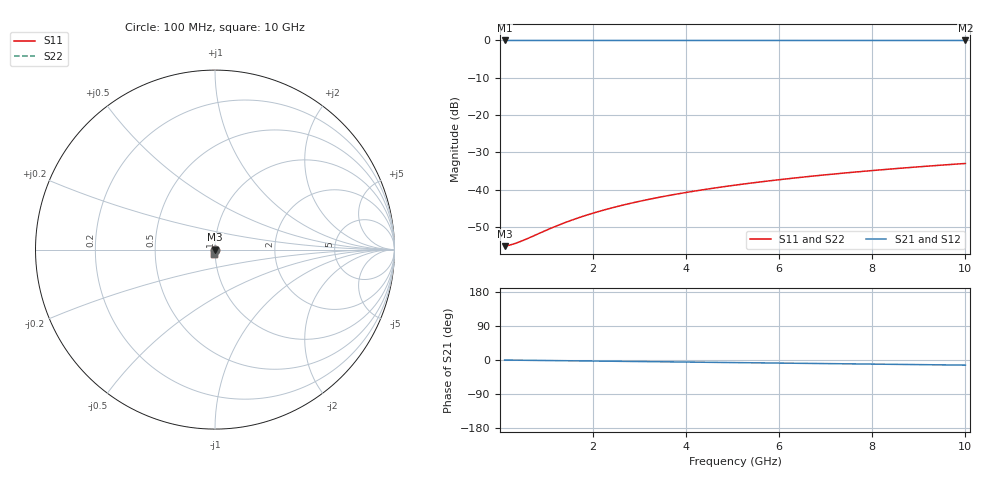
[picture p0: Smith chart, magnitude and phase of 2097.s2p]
# Hz S RI R 50.00
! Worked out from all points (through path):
!   100 points, 100 MHz to 10 GHz, reference 50 ohm
!   highest |S21| = -0.02 dB at 100 MHz (marker M1); lowest = 0.0 dB at 10 GHz (marker M2)
!   group delay of S21, straight-line fit = 3.76 ps
!   lowest |S11| = -55.2 dB at 100 MHz (marker M3), VSWR 1.00, Z = 50.2 - j0.0229 ohm
!   |S11| at or under -10 dB: start of sweep to end of sweep
!   |S22| runs from -55.2 to -33.0 dB; largest |S21 - S12| = 0
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1e8  0.00173 -0.000229  0.9983 -0.00235  0.9983 -0.00235  0.00173 -0.000229
2e8  0.00174 -0.000457  0.9982 -0.00471  0.9982 -0.00471  0.00174 -0.000457
3e8  0.00175 -0.000686  0.9982 -0.00706  0.9982 -0.00706  0.00175 -0.000686
4e8  0.00175 -0.000915  0.9982 -0.00942  0.9982 -0.00942  0.00175 -0.000915
6e8  0.00175 -0.00137  0.9981 -0.0141  0.9981 -0.0141  0.00175 -0.00137
1e9  0.00172 -0.00229  0.9979 -0.0235  0.9979 -0.0235  0.00172 -0.00229
1.2e9  0.00171 -0.00274  0.9978 -0.0282  0.9978 -0.0282  0.00171 -0.00274
1.5e9  0.00167 -0.00343  0.9975 -0.0353  0.9975 -0.0353  0.00167 -0.00343
1.8e9  0.00162 -0.00412  0.9973 -0.0424  0.9973 -0.0424  0.00162 -0.00412
2.1e9  0.00156 -0.0048  0.9969 -0.0494  0.9969 -0.0494  0.00156 -0.0048
2.5e9  0.00147 -0.00571  0.9964 -0.0588  0.9964 -0.0588  0.00147 -0.00571
2.9e9  0.00136 -0.00662  0.9958 -0.0682  0.9958 -0.0682  0.00136 -0.00662
3.4e9  0.00119 -0.00776  0.9949 -0.08  0.9949 -0.08  0.00119 -0.00776
3.8e9  0.00104 -0.00866  0.994 -0.0893  0.994 -0.0893  0.00104 -0.00866
4.2e9  0.000877 -0.00956  0.9931 -0.0987  0.9931 -0.0987  0.000877 -0.00956
4.6e9  0.000693 -0.0105  0.9921 -0.1081  0.9921 -0.1081  0.000693 -0.0105
5.1e9  0.000439 -0.0116  0.9908 -0.1198  0.9908 -0.1198  0.000439 -0.0116
5.9e9  -2.25e-05 -0.0134  0.9883 -0.1385  0.9883 -0.1385  -2.25e-05 -0.0134
6.7e9  -0.000551 -0.0151  0.9854 -0.1571  0.9854 -0.1571  -0.000551 -0.0151
7.5e9  -0.00115 -0.0169  0.9822 -0.1757  0.9822 -0.1757  -0.00115 -0.0169
8.4e9  -0.00189 -0.0188  0.9782 -0.1965  0.9782 -0.1965  -0.00189 -0.0188
1e10  -0.00342 -0.0222  0.9699 -0.2334  0.9699 -0.2334  -0.00342 -0.0222
